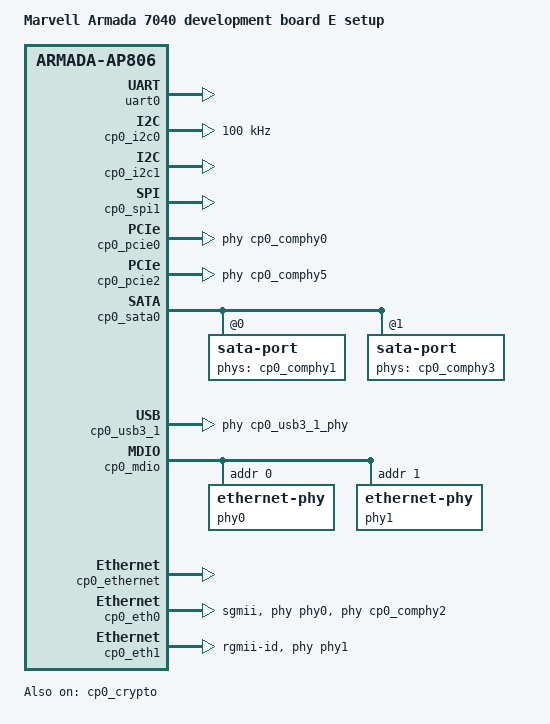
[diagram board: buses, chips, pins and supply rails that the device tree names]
// SPDX-License-Identifier: (GPL-2.0+ OR MIT)
/*
 * Device Tree file for Marvell Armada 7040 development board
 * This board file supports the E configuration of the board
 */

#include "armada-7040-db.dtsi"

/ {
	model = "Marvell Armada 7040 development board E setup";
	compatible = "marvell,armada7040-db-E", "marvell,armada7040-db",
		     "marvell,armada7040", "marvell,armada-ap806-quad",
		     "marvell,armada-ap806";

	chosen {
		stdout-path = "serial0:115200n8";
	};

	aliases {
		ethernet0 = &cp0_eth0;
		ethernet1 = &cp0_eth1;
	};
};

&uart0 {
	status = "okay";
};

&cp0_i2c0 {
	status = "okay";
	clock-frequency = <100000>;
};

&cp0_i2c1 {
	status = "okay";
};

&cp0_spi1 {
	status = "okay";
};

&cp0_pcie0 {
	status = "okay";
	phys = <&cp0_comphy0 0>;
};

&cp0_pcie2 {
	status = "okay";
	phys = <&cp0_comphy5 2>;
};

&cp0_sata0 {
	status = "okay";

	sata-port@0 {
		status = "okay";
		/* Generic PHY, providing serdes lanes */
		phys = <&cp0_comphy1 0>;
	};

	sata-port@1 {
		status = "okay";
		/* Generic PHY, providing serdes lanes */
		phys = <&cp0_comphy3 1>;
	};
};

&cp0_usb3_1 {
	usb-phy = <&cp0_usb3_1_phy>;
	status = "okay";
};

&cp0_mdio {
	status = "okay";

	phy0: ethernet-phy@0 {
		reg = <0>;
	};
	phy1: ethernet-phy@2 {
		reg = <1>;
	};
};

&cp0_ethernet {
	status = "okay";
};

&cp0_eth0 {
	status = "okay";
	/* Network PHY */
	phy = <&phy0>;
	phy-mode = "sgmii";
	/* Generic PHY, providing serdes lanes */
	phys = <&cp0_comphy2 0>;
};

&cp0_eth1 {
	status = "okay";
	phy = <&phy1>;
	phy-mode = "rgmii-id";
};

&cp0_crypto {
	status = "okay";
};
